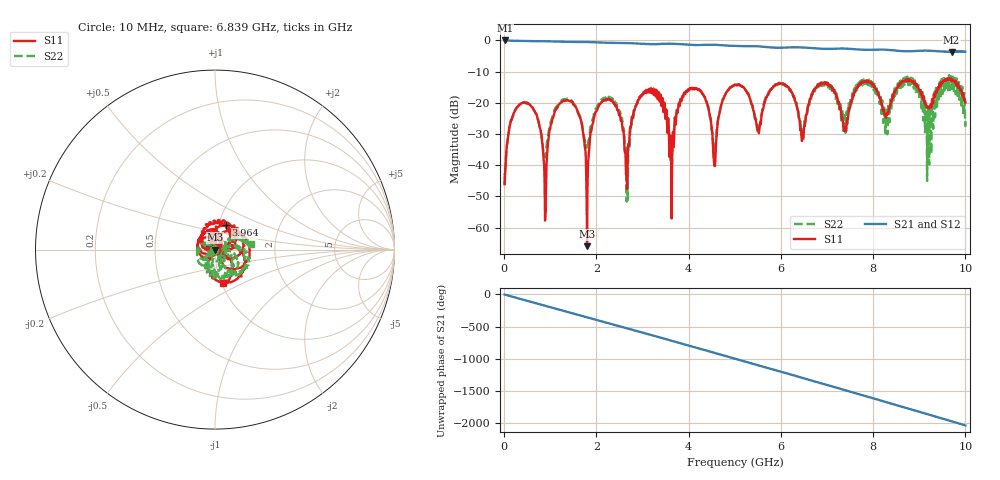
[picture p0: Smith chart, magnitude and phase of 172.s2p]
!Keysight Technologies,E5080B,MY59205177,A.15.75.32
!Date: Friday, February 23, 2024 03:43:25
!Correction: S11(Cdelta 2-Port  )
!S21(Cdelta 2-Port  )
!S12(Cdelta 2-Port  )
!S22(Cdelta 2-Port  )
!S2P File: Measurements: S11, S21, S12, S22:
# Hz S  dB  R 50
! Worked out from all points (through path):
!   10001 points, 10 MHz to 10 GHz, reference 50 ohm
!   highest |S21| = -0.01 dB at 14 MHz (marker M1); lowest = -3.7 dB at 9.701 GHz (marker M2)
!   group delay of S21, straight-line fit = 566 ps
!   lowest |S11| = -65.9 dB at 1.797 GHz (marker M3), VSWR 1.00, Z = 50 + j0.0504 ohm
!   |S11| at or under -10 dB: start of sweep to end of sweep
!   |S22| runs from -51.7 to -11.1 dB; largest |S21 - S12| = 0.0015
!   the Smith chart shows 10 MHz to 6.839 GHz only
!   S11 on the Smith chart (normalised r, x): 10 MHz: 1.01, -0.00; 3.964 GHz: 1.08, +0.30; 6.839 GHz: 1.02, -0.39
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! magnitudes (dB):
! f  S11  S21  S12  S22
! 10 MHz  -46.1  0.0  0.0  -45.9
! 14 MHz  -43.3  0.0  0.0  -45.3
! 374.6 MHz  -20.1  -0.2  -0.2  -20.1
! 888.1 MHz  -57.0  -0.3  -0.3  -37.3
! 1.175 GHz  -20.8  -0.4  -0.4  -20.3
! 1.675 GHz  -26.3  -0.5  -0.5  -25.7
! 1.797 GHz  -65.9  -0.5  -0.5  -33.5
! 2.108 GHz  -19.8  -0.7  -0.7  -19.0
! 2.664 GHz  -47.6  -0.9  -0.9  -43.2
! 2.907 GHz  -19.3  -1.0  -1.0  -18.8
! 3.341 GHz  -17.5  -1.1  -1.1  -17.6
! 3.627 GHz  -47.0  -1.0  -1.0  -41.6
! 3.964 GHz  -16.5  -1.3  -1.3  -16.2
! 4.562 GHz  -40.2  -1.4  -1.4  -38.5
! 5.005 GHz  -14.1  -1.8  -1.8  -14.4
! 6.107 GHz  -14.6  -2.3  -2.3  -14.7
! 6.464 GHz  -31.7  -2.3  -2.3  -27.7
! 6.67 GHz  -17.4  -2.5  -2.5  -17.0
! 6.839 GHz  -14.4  -2.6  -2.6  -13.8
! 8.336 GHz  -22.6  -3.1  -3.1  -20.9
! 9.701 GHz  -12.3  -3.7  -3.7  -13.8
! 10 GHz  -19.9  -3.6  -3.6  -25.2
